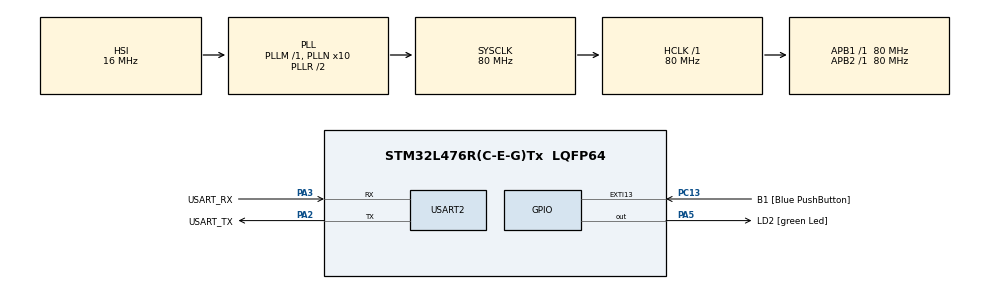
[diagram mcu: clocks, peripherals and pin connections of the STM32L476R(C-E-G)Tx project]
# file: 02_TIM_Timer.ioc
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Mcu.Family=STM32L4
Mcu.Name=STM32L476R(C-E-G)Tx
Mcu.Package=LQFP64
NVIC.PriorityGroup=NVIC_PRIORITYGROUP_4
NVIC.TIM6_DAC_IRQn=true\:0\:0\:false\:false\:true\:true\:true\:true
NVIC.USART2_IRQn=true\:0\:0\:false\:false\:true\:true\:true\:true
PA13\ (JTMS-SWDIO).GPIO_Label=TMS
PA13\ (JTMS-SWDIO).Mode=Serial_Wire
PA13\ (JTMS-SWDIO).Signal=SYS_JTMS-SWDIO
PA14\ (JTCK-SWCLK).GPIO_Label=TCK
PA14\ (JTCK-SWCLK).Mode=Serial_Wire
PA14\ (JTCK-SWCLK).Signal=SYS_JTCK-SWCLK
PA2.GPIO_Label=USART_TX
PA2.GPIO_Mode=GPIO_MODE_AF_PP
PA2.GPIO_PuPd=GPIO_NOPULL
PA2.GPIO_Speed=GPIO_SPEED_FREQ_VERY_HIGH
PA2.Mode=Asynchronous
PA2.Signal=USART2_TX
PA3.GPIO_Label=USART_RX
PA3.GPIO_Mode=GPIO_MODE_AF_PP
PA3.GPIO_PuPd=GPIO_NOPULL
PA3.GPIO_Speed=GPIO_SPEED_FREQ_VERY_HIGH
PA3.Mode=Asynchronous
PA3.Signal=USART2_RX
PA5.GPIO_Label=LD2 [green Led]
PA5.GPIO_ModeDefaultOutputPP=GPIO_MODE_OUTPUT_PP
PA5.GPIO_PuPd=GPIO_NOPULL
PA5.GPIO_Speed=GPIO_SPEED_FREQ_LOW
PA5.Signal=GPIO_Output
PB3\ (JTDO-TRACESWO).GPIO_Label=SWO
PB3\ (JTDO-TRACESWO).Signal=SYS_JTDO-SWO
PC13.GPIO_Label=B1 [Blue PushButton]
PC13.GPIO_ModeDefaultEXTI=GPIO_MODE_IT_FALLING
PC13.GPIO_PuPd=GPIO_NOPULL
PC13.Signal=GPXTI13
PC14-OSC32_IN\ (PC14).Mode=LSE-External-Oscillator
PC14-OSC32_IN\ (PC14).Signal=RCC_OSC32_IN
PC15-OSC32_OUT\ (PC15).Mode=LSE-External-Oscillator
PC15-OSC32_OUT\ (PC15).Signal=RCC_OSC32_OUT
PH0-OSC_IN\ (PH0).Signal=RCC_OSC_IN
PH1-OSC_OUT\ (PH1).Signal=RCC_OSC_OUT
ProjectManager.HeapSize=0x200
ProjectManager.StackSize=0x400
ProjectManager.TargetToolchain=STM32CubeIDE
RCC.ADCFreq_Value=64000000
RCC.AHBFreq_Value=80000000
RCC.APB1Freq_Value=80000000
RCC.APB1TimFreq_Value=80000000
RCC.APB2Freq_Value=80000000
RCC.APB2TimFreq_Value=80000000
RCC.CortexFreq_Value=80000000
RCC.HCLKFreq_Value=80000000
RCC.HSE_VALUE=8000000
RCC.HSI_VALUE=16000000
RCC.MSI_VALUE=4000000
RCC.PLLN=10
RCC.PLLSourceVirtual=RCC_PLLSOURCE_HSI
RCC.PREFETCH_ENABLE=1
RCC.SYSCLKFreq_VALUE=80000000
RCC.SYSCLKSource=RCC_SYSCLKSOURCE_PLLCLK
RCC.USBFreq_Value=64000000
RCC.VCOOutputFreq_Value=160000000
TIM6.Period=9
TIM6.Prescaler=15999
USART2.VirtualMode-Asynchronous=VM_ASYNC
VP_TIM6_VS_ClockSourceINT.Mode=Enable_Timer
board=NUCLEO-L476RG

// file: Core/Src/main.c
/* USER CODE BEGIN Header */
/**
  ******************************************************************************
  * @file           : main.c
  * @brief          : Main program body
  ******************************************************************************
  * @attention
  *
  * Copyright (c) 2026 STMicroelectronics.
  * All rights reserved.
  *
  * This software is licensed under terms that can be found in the LICENSE file
  * in the root directory of this software component.
  * If no LICENSE file comes with this software, it is provided AS-IS.
  *
  ******************************************************************************
  */
/* USER CODE END Header */
#include "main.h"

/* USER CODE BEGIN Includes */
#include <stdio.h>
#include <string.h>
/* USER CODE END Includes */

TIM_HandleTypeDef htim6;

UART_HandleTypeDef huart2;

/* USER CODE BEGIN PV */
volatile uint32_t time_counter = 0;	// Counts 10ms
uint8_t button_was_pressed = 0;		// Flag: 0 - released, 1 - pressed
uint8_t tx_buffer[6];	// 6-byte frame
/* USER CODE END PV */

void SystemClock_Config(void);
static void MX_GPIO_Init(void);
static void MX_TIM6_Init(void);
static void MX_USART2_UART_Init(void);

int main(void)
{

  /* MCU Configuration--------------------------------------------------------*/

  /* Reset of all peripherals, Initializes the Flash interface and the Systick. */
  HAL_Init();

  /* Configure the system clock */
  SystemClock_Config();

  /* Initialize all configured peripherals */
  MX_GPIO_Init();
  MX_TIM6_Init();
  MX_USART2_UART_Init();
  /* USER CODE BEGIN 2 */
  HAL_TIM_Base_Start_IT(&htim6);
  /* USER CODE END 2 */

  /* Infinite loop */
  /* USER CODE BEGIN WHILE */
  while (1)
  {
	  // Button pressed (PC13 LOW)
	  if (HAL_GPIO_ReadPin(GPIOC, GPIO_PIN_13) == GPIO_PIN_RESET && button_was_pressed == 0)
	  {
		  HAL_Delay(20);	// Eliminate oscillations
		  if (HAL_GPIO_ReadPin(GPIOC, GPIO_PIN_13) == GPIO_PIN_RESET)
		  {
			  button_was_pressed = 1;
			  time_counter = 0;

			  // Frame
			  tx_buffer[0] = 0x02;		// STX
			  tx_buffer[1] = 0x03;		// Timer ID
			  tx_buffer[2] = 0x01;		// Pressed (1 - pressed)
			  tx_buffer[3] = 0x00; 		// MSB
			  tx_buffer[4] = 0x00; 		// LSB
			  tx_buffer[5] = 0x03; 		// ETX

			  HAL_UART_Transmit_IT(&huart2, tx_buffer, 6);
		  }
	  }

	  // Button released
	  if (HAL_GPIO_ReadPin(GPIOC, GPIO_PIN_13) == GPIO_PIN_SET && button_was_pressed == 1)
	  {
		  HAL_Delay(20);
		  if (HAL_GPIO_ReadPin(GPIOC, GPIO_PIN_13) == GPIO_PIN_SET)
		  {
			  button_was_pressed = 0;

			  // Frame build
			  tx_buffer[0] = 0x02;		// STX
			  tx_buffer[1] = 0x03;		// Timer ID
			  tx_buffer[2] = 0x00;		// Released (0 - released)
			  tx_buffer[3] = (time_counter >> 8) & 0xFF; 	// MSB
			  tx_buffer[4] = time_counter & 0xFF; 			// LSB
			  tx_buffer[5] = 0x03; 		// ETX

			  HAL_UART_Transmit_IT(&huart2, tx_buffer, 6);
		  }
	  }

    /* USER CODE END WHILE */

  }
}

void SystemClock_Config(void)
{
  RCC_OscInitTypeDef RCC_OscInitStruct = {0};
  RCC_ClkInitTypeDef RCC_ClkInitStruct = {0};

  /** Configure the main internal regulator output voltage
  */
  if (HAL_PWREx_ControlVoltageScaling(PWR_REGULATOR_VOLTAGE_SCALE1) != HAL_OK)
  {
    Error_Handler();
  }

  /** Initializes the RCC Oscillators according to the specified parameters
  * in the RCC_OscInitTypeDef structure.
  */
  RCC_OscInitStruct.OscillatorType = RCC_OSCILLATORTYPE_HSI;
  RCC_OscInitStruct.HSIState = RCC_HSI_ON;
  RCC_OscInitStruct.HSICalibrationValue = RCC_HSICALIBRATION_DEFAULT;
  RCC_OscInitStruct.PLL.PLLState = RCC_PLL_ON;
  RCC_OscInitStruct.PLL.PLLSource = RCC_PLLSOURCE_HSI;
  RCC_OscInitStruct.PLL.PLLM = 1;
  RCC_OscInitStruct.PLL.PLLN = 10;
  RCC_OscInitStruct.PLL.PLLP = RCC_PLLP_DIV7;
  RCC_OscInitStruct.PLL.PLLQ = RCC_PLLQ_DIV2;
  RCC_OscInitStruct.PLL.PLLR = RCC_PLLR_DIV2;
  if (HAL_RCC_OscConfig(&RCC_OscInitStruct) != HAL_OK)
  {
    Error_Handler();
  }

  /** Initializes the CPU, AHB and APB buses clocks
  */
  RCC_ClkInitStruct.ClockType = RCC_CLOCKTYPE_HCLK|RCC_CLOCKTYPE_SYSCLK
                              |RCC_CLOCKTYPE_PCLK1|RCC_CLOCKTYPE_PCLK2;
  RCC_ClkInitStruct.SYSCLKSource = RCC_SYSCLKSOURCE_PLLCLK;
  RCC_ClkInitStruct.AHBCLKDivider = RCC_SYSCLK_DIV1;
  RCC_ClkInitStruct.APB1CLKDivider = RCC_HCLK_DIV1;
  RCC_ClkInitStruct.APB2CLKDivider = RCC_HCLK_DIV1;

  if (HAL_RCC_ClockConfig(&RCC_ClkInitStruct, FLASH_LATENCY_4) != HAL_OK)
  {
    Error_Handler();
  }
}

static void MX_TIM6_Init(void)
{

  TIM_MasterConfigTypeDef sMasterConfig = {0};

  htim6.Instance = TIM6;
  htim6.Init.Prescaler = 15999;
  htim6.Init.CounterMode = TIM_COUNTERMODE_UP;
  htim6.Init.Period = 9;
  htim6.Init.AutoReloadPreload = TIM_AUTORELOAD_PRELOAD_DISABLE;
  if (HAL_TIM_Base_Init(&htim6) != HAL_OK)
  {
    Error_Handler();
  }
  sMasterConfig.MasterOutputTrigger = TIM_TRGO_RESET;
  sMasterConfig.MasterSlaveMode = TIM_MASTERSLAVEMODE_DISABLE;
  if (HAL_TIMEx_MasterConfigSynchronization(&htim6, &sMasterConfig) != HAL_OK)
  {
    Error_Handler();
  }

}

static void MX_USART2_UART_Init(void)
{

  huart2.Instance = USART2;
  huart2.Init.BaudRate = 115200;
  huart2.Init.WordLength = UART_WORDLENGTH_8B;
  huart2.Init.StopBits = UART_STOPBITS_1;
  huart2.Init.Parity = UART_PARITY_NONE;
  huart2.Init.Mode = UART_MODE_TX_RX;
  huart2.Init.HwFlowCtl = UART_HWCONTROL_NONE;
  huart2.Init.OverSampling = UART_OVERSAMPLING_16;
  huart2.Init.OneBitSampling = UART_ONE_BIT_SAMPLE_DISABLE;
  huart2.AdvancedInit.AdvFeatureInit = UART_ADVFEATURE_NO_INIT;
  if (HAL_UART_Init(&huart2) != HAL_OK)
  {
    Error_Handler();
  }

}

static void MX_GPIO_Init(void)
{
  GPIO_InitTypeDef GPIO_InitStruct = {0};

  /* GPIO Ports Clock Enable */
  __HAL_RCC_GPIOC_CLK_ENABLE();
  __HAL_RCC_GPIOH_CLK_ENABLE();
  __HAL_RCC_GPIOA_CLK_ENABLE();
  __HAL_RCC_GPIOB_CLK_ENABLE();

  /*Configure GPIO pin Output Level */
  HAL_GPIO_WritePin(LD2_GPIO_Port, LD2_Pin, GPIO_PIN_RESET);

  /*Configure GPIO pin : B1_Pin */
  GPIO_InitStruct.Pin = B1_Pin;
  GPIO_InitStruct.Mode = GPIO_MODE_IT_FALLING;
  GPIO_InitStruct.Pull = GPIO_NOPULL;
  HAL_GPIO_Init(B1_GPIO_Port, &GPIO_InitStruct);

  /*Configure GPIO pin : LD2_Pin */
  GPIO_InitStruct.Pin = LD2_Pin;
  GPIO_InitStruct.Mode = GPIO_MODE_OUTPUT_PP;
  GPIO_InitStruct.Pull = GPIO_NOPULL;
  GPIO_InitStruct.Speed = GPIO_SPEED_FREQ_LOW;
  HAL_GPIO_Init(LD2_GPIO_Port, &GPIO_InitStruct);

}

/* USER CODE BEGIN 4 */
void HAL_TIM_PeriodElapsedCallback(TIM_HandleTypeDef *htim)
{
    // Sprawdzamy, czy przerwanie pochodzi z naszego TIM6
    if (htim->Instance == TIM6)
    {
        // Licznik czasu bije tylko wtedy, gdy przycisk jest fizycznie trzymany
        if (button_was_pressed == 1)
        {
            time_counter++;
        }
    }
}
/* USER CODE END 4 */

void Error_Handler(void)
{
  __disable_irq();
  while (1)
  {
  }
}
